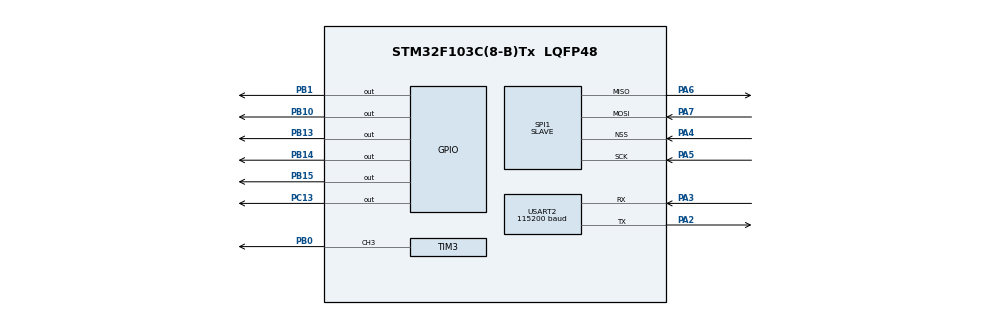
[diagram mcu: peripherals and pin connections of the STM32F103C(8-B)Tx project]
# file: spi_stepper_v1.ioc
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Mcu.Family=STM32F1
Mcu.Name=STM32F103C(8-B)Tx
Mcu.Package=LQFP48
NVIC.PriorityGroup=NVIC_PRIORITYGROUP_4
NVIC.SPI1_IRQn=true\:0\:0\:false\:false\:true\:true\:true\:true
PA13.Mode=Serial_Wire
PA13.Signal=SYS_JTMS-SWDIO
PA14.Mode=Serial_Wire
PA14.Signal=SYS_JTCK-SWCLK
PA2.Mode=Asynchronous
PA2.Signal=USART2_TX
PA3.Mode=Asynchronous
PA3.Signal=USART2_RX
PA4.Mode=NSS_Signal_Hard_Input
PA4.Signal=SPI1_NSS
PA5.Mode=Full_Duplex_Slave
PA5.Signal=SPI1_SCK
PA6.Mode=Full_Duplex_Slave
PA6.Signal=SPI1_MISO
PA7.Mode=Full_Duplex_Slave
PA7.Signal=SPI1_MOSI
PB0.Signal=S_TIM3_CH3
PB1.Signal=GPIO_Output
PB10.Signal=GPIO_Output
PB13.Signal=GPIO_Output
PB14.Signal=GPIO_Output
PB15.Signal=GPIO_Output
PC13-TAMPER-RTC.Signal=GPIO_Output
PD0-OSC_IN.Mode=HSE-External-Oscillator
PD0-OSC_IN.Signal=RCC_OSC_IN
PD1-OSC_OUT.Mode=HSE-External-Oscillator
PD1-OSC_OUT.Signal=RCC_OSC_OUT
ProjectManager.HeapSize=0x200
ProjectManager.StackSize=0x400
ProjectManager.TargetToolchain=CMake
RCC.APB1Freq_Value=8000000
RCC.APB2Freq_Value=8000000
SH.S_TIM3_CH3.0=TIM3_CH3,Output Compare3 CH3
SPI1.CLKPhase=SPI_PHASE_1EDGE
SPI1.CLKPolarity=SPI_POLARITY_LOW
SPI1.CRCCalculation=SPI_CRCCALCULATION_DISABLE
SPI1.DataSize=SPI_DATASIZE_16BIT
SPI1.Direction=SPI_DIRECTION_2LINES
SPI1.FirstBit=SPI_FIRSTBIT_MSB
SPI1.Mode=SPI_MODE_SLAVE
SPI1.NSS=SPI_NSS_HARD_INPUT
SPI1.TIMode=SPI_TIMODE_DISABLE
SPI1.VirtualNSS=VM_NSSHARD
SPI1.VirtualType=VM_SLAVE
TIM3.AutoReloadPreload=TIM_AUTORELOAD_PRELOAD_ENABLE
TIM3.Channel-Output\ Compare3\ CH3=TIM_CHANNEL_3
TIM3.ClockDivision=TIM_CLOCKDIVISION_DIV1
TIM3.CounterMode=TIM_COUNTERMODE_UP
TIM3.OC3Preload=ENABLE
TIM3.OCMode_3=TIM_OCMODE_TOGGLE
TIM3.OCPolarity_3=TIM_OCPOLARITY_HIGH
TIM3.Period=65535
TIM3.Prescaler=31
TIM3.Pulse-Output\ Compare3\ CH3=0
TIM3.TIM_MasterOutputTrigger=TIM_TRGO_RESET
TIM3.TIM_MasterSlaveMode=TIM_MASTERSLAVEMODE_DISABLE
USART2.BaudRate=115200
USART2.Mode=MODE_TX_RX
USART2.Parity=PARITY_NONE
USART2.StopBits=STOPBITS_1
USART2.VirtualMode=VM_ASYNC
USART2.WordLength=WORDLENGTH_8B
VP_TIM3_VS_ClockSourceINT.Mode=Internal
board=custom

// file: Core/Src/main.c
/* USER CODE BEGIN Header */
/**
  ******************************************************************************
  * @file           : main.c
  * @brief          : Main program body
  ******************************************************************************
  * @attention
  *
  * Copyright (c) 2026 STMicroelectronics.
  * All rights reserved.
  *
  * This software is licensed under terms that can be found in the LICENSE file
  * in the root directory of this software component.
  * If no LICENSE file comes with this software, it is provided AS-IS.
  *
  ******************************************************************************
  */
/* USER CODE END Header */
#include "main.h"

/* USER CODE BEGIN PD */
#define DRV8825_1_STEP 0x00
#define DRV8825_2_STEP 0x01
#define DRV8825_4_STEP 0x02
#define DRV8825_8_STEP 0x03
#define DRV8825_16_STEP 0x04
#define DRV8825_32_STEP 0x05

#define MIN_PERIOD 64 // Minimum period for the step signal
/* USER CODE END PD */

SPI_HandleTypeDef hspi1;

TIM_HandleTypeDef htim3;

UART_HandleTypeDef huart2;

void SystemClock_Config(void);
static void MX_GPIO_Init(void);
static void MX_TIM3_Init(void);
static void MX_USART2_UART_Init(void);
static void MX_SPI1_Init(void);

/* USER CODE BEGIN 0 */
void set_period(uint16_t period) {  // Sets the period for the step signal
  // TIM_OC_InitTypeDef sConfigOC;

  // sConfigOC.OCMode = TIM_OCMODE_TOGGLE;
  // sConfigOC.Pulse = period;
  // sConfigOC.OCPolarity = TIM_OCPOLARITY_HIGH;
  // sConfigOC.OCFastMode = TIM_OCFAST_DISABLE;

  // if (HAL_TIM_OC_ConfigChannel(&htim3, &sConfigOC, TIM_CHANNEL_3) != HAL_OK)
  // {
  //   Error_Handler();
  // }
  __HAL_TIM_SET_COMPARE(&htim3, TIM_CHANNEL_3, period);
  __HAL_TIM_SET_AUTORELOAD(&htim3, period);
}

void set_microstep(uint8_t microstep) { // Sets the microstepping mode
  switch(microstep) {
    case DRV8825_1_STEP:
      HAL_GPIO_WritePin(GPIOB, GPIO_PIN_13, GPIO_PIN_RESET);
      HAL_GPIO_WritePin(GPIOB, GPIO_PIN_14, GPIO_PIN_RESET);
      HAL_GPIO_WritePin(GPIOB, GPIO_PIN_15, GPIO_PIN_RESET);
      break;
    case DRV8825_2_STEP:
      HAL_GPIO_WritePin(GPIOB, GPIO_PIN_13, GPIO_PIN_SET);
      HAL_GPIO_WritePin(GPIOB, GPIO_PIN_14, GPIO_PIN_RESET);
      HAL_GPIO_WritePin(GPIOB, GPIO_PIN_15, GPIO_PIN_RESET);
      break;
    case DRV8825_4_STEP:
      HAL_GPIO_WritePin(GPIOB, GPIO_PIN_13, GPIO_PIN_RESET);
      HAL_GPIO_WritePin(GPIOB, GPIO_PIN_14, GPIO_PIN_SET);
      HAL_GPIO_WritePin(GPIOB, GPIO_PIN_15, GPIO_PIN_RESET);
      break;
    case DRV8825_8_STEP:
      HAL_GPIO_WritePin(GPIOB, GPIO_PIN_13, GPIO_PIN_SET);
      HAL_GPIO_WritePin(GPIOB, GPIO_PIN_14, GPIO_PIN_SET);
      HAL_GPIO_WritePin(GPIOB, GPIO_PIN_15, GPIO_PIN_RESET);
      break;
    case DRV8825_16_STEP:
      HAL_GPIO_WritePin(GPIOB, GPIO_PIN_13, GPIO_PIN_RESET);
      HAL_GPIO_WritePin(GPIOB, GPIO_PIN_14, GPIO_PIN_RESET);
      HAL_GPIO_WritePin(GPIOB, GPIO_PIN_15, GPIO_PIN_SET);
      break;
    case DRV8825_32_STEP:
      HAL_GPIO_WritePin(GPIOB, GPIO_PIN_13, GPIO_PIN_SET);
      HAL_GPIO_WritePin(GPIOB, GPIO_PIN_14, GPIO_PIN_SET);
      HAL_GPIO_WritePin(GPIOB, GPIO_PIN_15, GPIO_PIN_SET);
      break;
    default:
      break;
  }
}

volatile uint8_t spi_rx_complete_flag = 0;
volatile uint16_t received_frame;

void HAL_SPI_RxCpltCallback(SPI_HandleTypeDef *hspi) {
  uint8_t enable = (received_frame & 0x8000) != 0; // check MSB
  uint8_t direction = (received_frame & 0x4000) != 0; // check bit 14
  uint16_t raw_period = received_frame & 0x0FFF; // last 12 bits

  uint8_t microstep;
  uint16_t period;
  if(raw_period < MIN_PERIOD) {
    microstep = DRV8825_1_STEP;
    period = MIN_PERIOD;
  } else if(raw_period >= 128) {
    microstep = DRV8825_4_STEP;
    period = raw_period / 4;
  } else {
    microstep = DRV8825_1_STEP;
    period = raw_period;
  }

  set_microstep(microstep);
  set_period(period);
  HAL_GPIO_WritePin(GPIOB, GPIO_PIN_1, !enable); // enable is low active on PB1
  HAL_GPIO_WritePin(GPIOC, GPIO_PIN_13, !enable); // LED is low active on PC13
  HAL_GPIO_WritePin(GPIOB, GPIO_PIN_10, direction); // direction on PB2

  HAL_SPI_Receive_IT(&hspi1, (uint8_t*)&received_frame, 1); // Restart SPI reception
}
/* USER CODE END 0 */

int main(void)
{

  /* MCU Configuration--------------------------------------------------------*/

  /* Reset of all peripherals, Initializes the Flash interface and the Systick. */
  HAL_Init();

  /* Configure the system clock */
  SystemClock_Config();

  /* Initialize all configured peripherals */
  MX_GPIO_Init();
  MX_TIM3_Init();
  MX_USART2_UART_Init();
  MX_SPI1_Init();
  /* USER CODE BEGIN 2 */
  HAL_TIM_OC_Start(&htim3, TIM_CHANNEL_3);
  HAL_GPIO_WritePin(GPIOB, GPIO_PIN_1, 1);
  HAL_SPI_Receive_IT(&hspi1, (uint8_t*)&received_frame, 1);
  /* USER CODE END 2 */

  /* Infinite loop */
  while (1)
  {

  }
}

void SystemClock_Config(void)
{
  RCC_OscInitTypeDef RCC_OscInitStruct = {0};
  RCC_ClkInitTypeDef RCC_ClkInitStruct = {0};

  /** Initializes the RCC Oscillators according to the specified parameters
  * in the RCC_OscInitTypeDef structure.
  */
  RCC_OscInitStruct.OscillatorType = RCC_OSCILLATORTYPE_HSI;
  RCC_OscInitStruct.HSIState = RCC_HSI_ON;
  RCC_OscInitStruct.HSICalibrationValue = RCC_HSICALIBRATION_DEFAULT;
  RCC_OscInitStruct.PLL.PLLState = RCC_PLL_NONE;
  if (HAL_RCC_OscConfig(&RCC_OscInitStruct) != HAL_OK)
  {
    Error_Handler();
  }

  /** Initializes the CPU, AHB and APB buses clocks
  */
  RCC_ClkInitStruct.ClockType = RCC_CLOCKTYPE_HCLK|RCC_CLOCKTYPE_SYSCLK
                              |RCC_CLOCKTYPE_PCLK1|RCC_CLOCKTYPE_PCLK2;
  RCC_ClkInitStruct.SYSCLKSource = RCC_SYSCLKSOURCE_HSI;
  RCC_ClkInitStruct.AHBCLKDivider = RCC_SYSCLK_DIV1;
  RCC_ClkInitStruct.APB1CLKDivider = RCC_HCLK_DIV1;
  RCC_ClkInitStruct.APB2CLKDivider = RCC_HCLK_DIV1;

  if (HAL_RCC_ClockConfig(&RCC_ClkInitStruct, FLASH_LATENCY_0) != HAL_OK)
  {
    Error_Handler();
  }
}

static void MX_SPI1_Init(void)
{

  /* SPI1 parameter configuration*/
  hspi1.Instance = SPI1;
  hspi1.Init.Mode = SPI_MODE_SLAVE;
  hspi1.Init.Direction = SPI_DIRECTION_2LINES;
  hspi1.Init.DataSize = SPI_DATASIZE_16BIT;
  hspi1.Init.CLKPolarity = SPI_POLARITY_LOW;
  hspi1.Init.CLKPhase = SPI_PHASE_1EDGE;
  hspi1.Init.NSS = SPI_NSS_HARD_INPUT;
  hspi1.Init.FirstBit = SPI_FIRSTBIT_MSB;
  hspi1.Init.TIMode = SPI_TIMODE_DISABLE;
  hspi1.Init.CRCCalculation = SPI_CRCCALCULATION_DISABLE;
  hspi1.Init.CRCPolynomial = 10;
  if (HAL_SPI_Init(&hspi1) != HAL_OK)
  {
    Error_Handler();
  }

}

static void MX_TIM3_Init(void)
{

  TIM_ClockConfigTypeDef sClockSourceConfig = {0};
  TIM_MasterConfigTypeDef sMasterConfig = {0};
  TIM_OC_InitTypeDef sConfigOC = {0};

  htim3.Instance = TIM3;
  htim3.Init.Prescaler = 31;
  htim3.Init.CounterMode = TIM_COUNTERMODE_UP;
  htim3.Init.Period = 65535;
  htim3.Init.ClockDivision = TIM_CLOCKDIVISION_DIV1;
  htim3.Init.AutoReloadPreload = TIM_AUTORELOAD_PRELOAD_ENABLE;
  if (HAL_TIM_Base_Init(&htim3) != HAL_OK)
  {
    Error_Handler();
  }
  sClockSourceConfig.ClockSource = TIM_CLOCKSOURCE_INTERNAL;
  if (HAL_TIM_ConfigClockSource(&htim3, &sClockSourceConfig) != HAL_OK)
  {
    Error_Handler();
  }
  if (HAL_TIM_OC_Init(&htim3) != HAL_OK)
  {
    Error_Handler();
  }
  sMasterConfig.MasterOutputTrigger = TIM_TRGO_RESET;
  sMasterConfig.MasterSlaveMode = TIM_MASTERSLAVEMODE_DISABLE;
  if (HAL_TIMEx_MasterConfigSynchronization(&htim3, &sMasterConfig) != HAL_OK)
  {
    Error_Handler();
  }
  sConfigOC.OCMode = TIM_OCMODE_TOGGLE;
  sConfigOC.Pulse = 0;
  sConfigOC.OCPolarity = TIM_OCPOLARITY_HIGH;
  sConfigOC.OCFastMode = TIM_OCFAST_DISABLE;
  if (HAL_TIM_OC_ConfigChannel(&htim3, &sConfigOC, TIM_CHANNEL_3) != HAL_OK)
  {
    Error_Handler();
  }
  __HAL_TIM_ENABLE_OCxPRELOAD(&htim3, TIM_CHANNEL_3);
  HAL_TIM_MspPostInit(&htim3);

}

static void MX_USART2_UART_Init(void)
{

  huart2.Instance = USART2;
  huart2.Init.BaudRate = 115200;
  huart2.Init.WordLength = UART_WORDLENGTH_8B;
  huart2.Init.StopBits = UART_STOPBITS_1;
  huart2.Init.Parity = UART_PARITY_NONE;
  huart2.Init.Mode = UART_MODE_TX_RX;
  huart2.Init.HwFlowCtl = UART_HWCONTROL_NONE;
  huart2.Init.OverSampling = UART_OVERSAMPLING_16;
  if (HAL_UART_Init(&huart2) != HAL_OK)
  {
    Error_Handler();
  }

}

static void MX_GPIO_Init(void)
{
  GPIO_InitTypeDef GPIO_InitStruct = {0};

  /* GPIO Ports Clock Enable */
  __HAL_RCC_GPIOC_CLK_ENABLE();
  __HAL_RCC_GPIOD_CLK_ENABLE();
  __HAL_RCC_GPIOA_CLK_ENABLE();
  __HAL_RCC_GPIOB_CLK_ENABLE();

  /*Configure GPIO pin Output Level */
  HAL_GPIO_WritePin(GPIOC, GPIO_PIN_13, GPIO_PIN_RESET);

  /*Configure GPIO pin Output Level */
  HAL_GPIO_WritePin(GPIOB, GPIO_PIN_1|GPIO_PIN_10|GPIO_PIN_13|GPIO_PIN_14
                          |GPIO_PIN_15, GPIO_PIN_RESET);

  /*Configure GPIO pin : PC13 */
  GPIO_InitStruct.Pin = GPIO_PIN_13;
  GPIO_InitStruct.Mode = GPIO_MODE_OUTPUT_PP;
  GPIO_InitStruct.Pull = GPIO_NOPULL;
  GPIO_InitStruct.Speed = GPIO_SPEED_FREQ_LOW;
  HAL_GPIO_Init(GPIOC, &GPIO_InitStruct);

  /*Configure GPIO pins : PB1 PB10 PB13 PB14
                           PB15 */
  GPIO_InitStruct.Pin = GPIO_PIN_1|GPIO_PIN_10|GPIO_PIN_13|GPIO_PIN_14
                          |GPIO_PIN_15;
  GPIO_InitStruct.Mode = GPIO_MODE_OUTPUT_PP;
  GPIO_InitStruct.Pull = GPIO_NOPULL;
  GPIO_InitStruct.Speed = GPIO_SPEED_FREQ_LOW;
  HAL_GPIO_Init(GPIOB, &GPIO_InitStruct);

}

void Error_Handler(void)
{
  __disable_irq();
  while (1)
  {
  }
}
